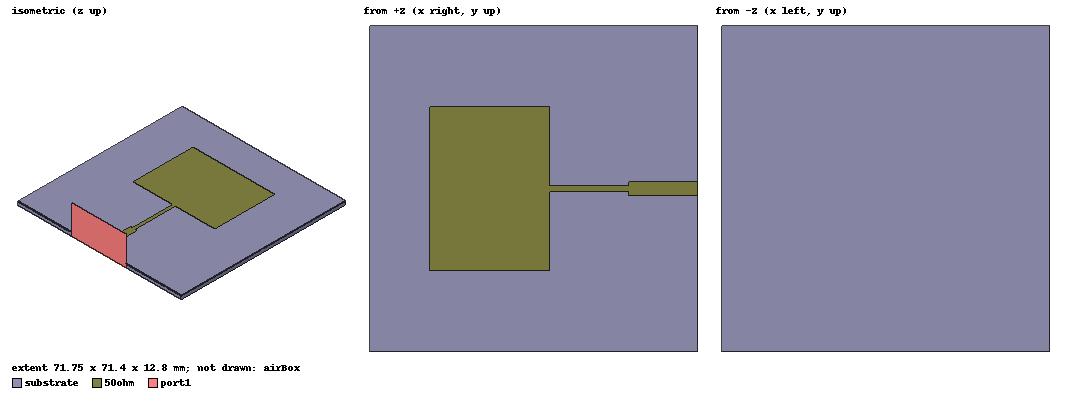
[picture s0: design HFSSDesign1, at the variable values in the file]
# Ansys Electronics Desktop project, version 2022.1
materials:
  vacuum: permittivity=1
  FR4_epoxy: permittivity=4.4 dielectric_loss_tangent=0.02

design HFSSDesign1 (HFSS, DrivenModal, model units mm)
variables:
  H = 1.6mm
  L0 = 26.2mm
  W0 = 35.7mm
  L1 = 17.45mm
  W1 = 1.3mm
  L2 = 15mm
  W2 = 2.98mm
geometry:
  substrate [FR4_epoxy] = box(corner=(-L0, -W0, 0mm), size=(1.5*L0+L1+L2, 2*W0, H))
  patch = rectangle(corner=(-L0/2, -W0/2, H), x_size=L0, y_size=W0)
  TLINE = rectangle(corner=(L0/2, -W1/2, H), x_size=L1, y_size=W1)
  50ohm = rectangle(corner=(L0/2+L1, -W2/2, H), x_size=L2, y_size=W2)
  50ohm.unite(patch, TLINE)
  airBox [vacuum] = box(corner=(-L0/2-30mm, -W0/2-30mm, 0mm), size=(L0+L1+L2+30mm, W0+60mm, H+30mm))
  port1 = rectangle(corner=(L0/2+L1+L2, -4*W2, 0mm), y_size=8*W2, z_size=8*H)
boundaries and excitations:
  PerfE1: Perfect E Objects=50ohm
  Rad1: Radiation Objects=airBox
  PerfE2: Perfect E Faces=substrate.face(-z)
  1: Wave Port Faces=port1.face NumModes=1 Modes{Mode1{CharImp=Zpi RenormImp=50ohm}}
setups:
  Setup1: HfssDriven Frequency=2.45GHz MaxDeltaS=0.02 MaximumPasses=20 MinimumPasses=1 MinimumConvergedPasses=1 PercentRefinement=30 BasisOrder=1 PortAccuracy=2 DrivenSolverType="Direct Solver"
    sweep Sweep: 1.5GHz to 3.5GHz step 0.01GHz; Type=Interpolating InterpTolerance=0.5 InterpMaxSolns=250 InterpUsePortImped=false PassivityErrorTolerance=0.0001
  my_setup_1: HfssDriven Frequency=2.45GHz MaxDeltaS=0.02 MaximumPasses=6 MinimumPasses=1 MinimumConvergedPasses=1 PercentRefinement=30 BasisOrder=1 PortAccuracy=2 DrivenSolverType="Direct Solver"
    sweep LinearCountSweep: 2GHz to 3GHz, 101 points; Type=Interpolating SaveFields InterpTolerance=0.5 InterpMaxSolns=250 InterpUsePortImped=false PassivityErrorTolerance=0.0001
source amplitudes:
  1:1: 1W 0deg
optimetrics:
  ParametricSetup1: Parametric
    sweep L0: LIN 27mm 29mm 0.2mm
  L0_parametrics: Parametric Sim._Setups=[Setup1]
    sweep :
